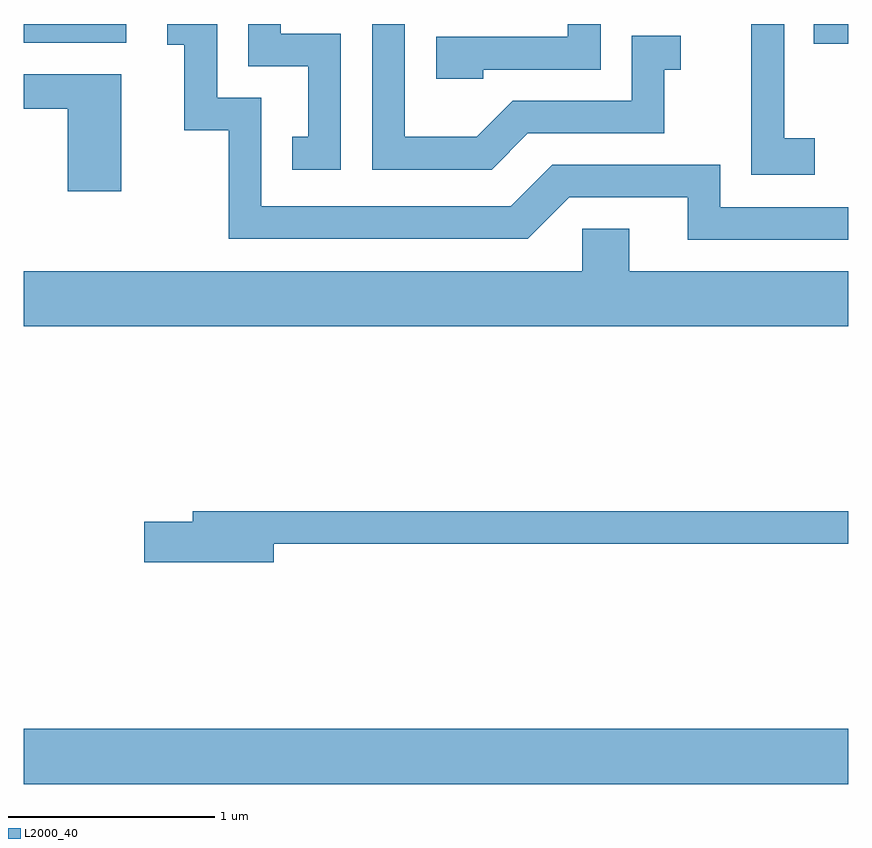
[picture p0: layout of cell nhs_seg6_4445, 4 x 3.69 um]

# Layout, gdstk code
import gdstk
lib = gdstk.Library(unit=1e-6, precision=1e-09)
def R(c, l, rs):  # rectangles x0, y0, x1, y1
    for r in rs: c.add(gdstk.rectangle(r[:2], r[2:], *l))
def P(c, l, *ps):  # polygons
    for p in ps: c.add(gdstk.Polygon(p, *l))
L2000_40 = (2000, 40)

nhs_seg6_4445 = lib.new_cell('nhs_seg6_4445')
R(nhs_seg6_4445, L2000_40, [(321.611,1554.476,325.611,1554.744), (325.443,1558.066,325.611,1558.162), (321.611,1558.071,322.108,1558.162)])
P(nhs_seg6_4445, L2000_40, [(323.149,1558.114),(322.859,1558.114),(322.859,1558.162),(322.701,1558.162),(322.701,1557.956),(322.991,1557.956),(322.991,1557.614),(322.913,1557.614),(322.913,1557.456),(323.149,1557.456)],
  [(325.611,1557.274),(324.989,1557.274),(324.989,1557.479),(324.174,1557.479),(323.974,1557.279),(322.764,1557.279),(322.764,1557.804),(322.549,1557.804),(322.549,1558.162),(322.308,1558.162),(322.308,1558.061),(322.391,1558.061),(322.391,1557.646),(322.606,1557.646),(322.606,1557.121),(324.057,1557.121),(324.257,1557.321),(324.831,1557.321),(324.831,1557.116),(325.611,1557.116)],
  [(324.057,1557.631),(324.719,1557.631),(324.719,1557.941),(324.798,1557.941),(324.798,1558.104),(324.561,1558.104),(324.561,1557.789),(323.984,1557.789),(323.809,1557.614),(323.459,1557.614),(323.459,1558.162),(323.301,1558.162),(323.301,1557.456),(323.882,1557.456)],
  [(323.839,1557.941),(324.409,1557.941),(324.409,1558.162),(324.251,1558.162),(324.251,1558.099),(323.611,1558.099),(323.611,1557.896),(323.839,1557.896)],
  [(325.449,1557.609),(325.299,1557.609),(325.299,1558.162),(325.141,1558.162),(325.141,1557.431),(325.449,1557.431)],
  [(322.084,1557.919),(321.611,1557.919),(321.611,1557.751),(321.826,1557.751),(321.826,1557.351),(322.084,1557.351)],
  [(325.611,1556.964),(324.549,1556.964),(324.549,1557.169),(324.321,1557.169),(324.321,1556.964),(321.611,1556.964),(321.611,1556.696),(325.611,1556.696)],
  [(322.824,1555.641),(325.611,1555.641),(325.611,1555.799),(322.431,1555.799),(322.431,1555.749),(322.196,1555.749),(322.196,1555.551),(322.824,1555.551)])

lib.write_gds('nhs_seg6_4445.gds')
